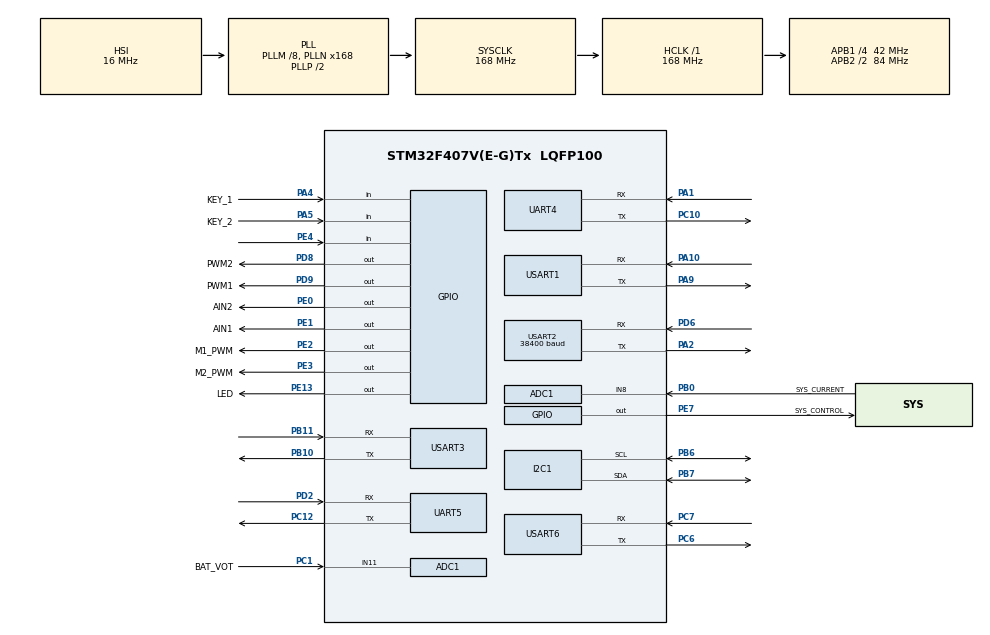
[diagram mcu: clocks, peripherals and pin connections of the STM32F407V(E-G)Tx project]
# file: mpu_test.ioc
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ADC1.Channel-0\#ChannelRegularConversion=ADC_CHANNEL_8
ADC1.NbrOfConversionFlag=1
ADC1.Rank-0\#ChannelRegularConversion=1
ADC1.SamplingTime-0\#ChannelRegularConversion=ADC_SAMPLETIME_3CYCLES
ADC1.master=1
Dma.Request0=USART2_RX
Dma.Request1=USART2_TX
Dma.Request2=USART6_RX
Dma.Request3=USART6_TX
Dma.USART2_RX.0.Direction=DMA_PERIPH_TO_MEMORY
Dma.USART2_RX.0.FIFOMode=DMA_FIFOMODE_DISABLE
Dma.USART2_RX.0.Instance=DMA1_Stream5
Dma.USART2_RX.0.MemDataAlignment=DMA_MDATAALIGN_BYTE
Dma.USART2_RX.0.MemInc=DMA_MINC_ENABLE
Dma.USART2_RX.0.Mode=DMA_NORMAL
Dma.USART2_RX.0.PeriphDataAlignment=DMA_PDATAALIGN_BYTE
Dma.USART2_RX.0.PeriphInc=DMA_PINC_DISABLE
Dma.USART2_RX.0.Priority=DMA_PRIORITY_LOW
Dma.USART2_TX.1.Direction=DMA_MEMORY_TO_PERIPH
Dma.USART2_TX.1.FIFOMode=DMA_FIFOMODE_DISABLE
Dma.USART2_TX.1.Instance=DMA1_Stream6
Dma.USART2_TX.1.MemDataAlignment=DMA_MDATAALIGN_BYTE
Dma.USART2_TX.1.MemInc=DMA_MINC_ENABLE
Dma.USART2_TX.1.Mode=DMA_NORMAL
Dma.USART2_TX.1.PeriphDataAlignment=DMA_PDATAALIGN_BYTE
Dma.USART2_TX.1.PeriphInc=DMA_PINC_DISABLE
Dma.USART2_TX.1.Priority=DMA_PRIORITY_LOW
Dma.USART6_RX.2.Direction=DMA_PERIPH_TO_MEMORY
Dma.USART6_RX.2.FIFOMode=DMA_FIFOMODE_DISABLE
Dma.USART6_RX.2.Instance=DMA2_Stream1
Dma.USART6_RX.2.MemDataAlignment=DMA_MDATAALIGN_BYTE
Dma.USART6_RX.2.MemInc=DMA_MINC_ENABLE
Dma.USART6_RX.2.Mode=DMA_NORMAL
Dma.USART6_RX.2.PeriphDataAlignment=DMA_PDATAALIGN_BYTE
Dma.USART6_RX.2.PeriphInc=DMA_PINC_DISABLE
Dma.USART6_RX.2.Priority=DMA_PRIORITY_LOW
Dma.USART6_TX.3.Direction=DMA_MEMORY_TO_PERIPH
Dma.USART6_TX.3.FIFOMode=DMA_FIFOMODE_DISABLE
Dma.USART6_TX.3.Instance=DMA2_Stream6
Dma.USART6_TX.3.MemDataAlignment=DMA_MDATAALIGN_BYTE
Dma.USART6_TX.3.MemInc=DMA_MINC_ENABLE
Dma.USART6_TX.3.Mode=DMA_NORMAL
Dma.USART6_TX.3.PeriphDataAlignment=DMA_PDATAALIGN_BYTE
Dma.USART6_TX.3.PeriphInc=DMA_PINC_DISABLE
Dma.USART6_TX.3.Priority=DMA_PRIORITY_LOW
Mcu.Family=STM32F4
Mcu.Name=STM32F407V(E-G)Tx
Mcu.Package=LQFP100
NVIC.DMA1_Stream5_IRQn=true\:0\:0\:false\:false\:true\:false\:true\:true
NVIC.DMA1_Stream6_IRQn=true\:0\:0\:false\:false\:true\:false\:true\:true
NVIC.DMA2_Stream1_IRQn=true\:0\:0\:false\:false\:true\:false\:true\:true
NVIC.DMA2_Stream6_IRQn=true\:0\:0\:false\:false\:true\:false\:true\:true
NVIC.PriorityGroup=NVIC_PRIORITYGROUP_4
NVIC.TIM2_IRQn=true\:0\:0\:false\:false\:true\:true\:true\:true
PA1.Mode=Asynchronous
PA1.Signal=UART4_RX
PA10.Mode=Asynchronous
PA10.Signal=USART1_RX
PA13.Mode=Serial_Wire
PA13.Signal=SYS_JTMS-SWDIO
PA14.Mode=Serial_Wire
PA14.Signal=SYS_JTCK-SWCLK
PA2.Mode=Asynchronous
PA2.Signal=USART2_TX
PA4.GPIO_Label=KEY_1
PA4.Signal=GPIO_Input
PA5.GPIO_Label=KEY_2
PA5.Signal=GPIO_Input
PA9.Mode=Asynchronous
PA9.Signal=USART1_TX
PB0.GPIO_Label=SYS_CURRENT
PB0.Signal=SharedAnalog_PB0
PB10.Mode=Asynchronous
PB10.Signal=USART3_TX
PB11.Mode=Asynchronous
PB11.Signal=USART3_RX
PB6.Mode=I2C
PB6.Signal=I2C1_SCL
PB7.Mode=I2C
PB7.Signal=I2C1_SDA
PC1.GPIO_Label=BAT_VOT
PC1.Signal=ADCx_IN11
PC10.Mode=Asynchronous
PC10.Signal=UART4_TX
PC12.Mode=Asynchronous
PC12.Signal=UART5_TX
PC14-OSC32_IN.Mode=LSE-External-Oscillator
PC14-OSC32_IN.Signal=RCC_OSC32_IN
PC15-OSC32_OUT.Mode=LSE-External-Oscillator
PC15-OSC32_OUT.Signal=RCC_OSC32_OUT
PC6.Mode=Asynchronous
PC6.Signal=USART6_TX
PC7.Mode=Asynchronous
PC7.Signal=USART6_RX
PD2.Mode=Asynchronous
PD2.Signal=UART5_RX
PD6.Mode=Asynchronous
PD6.Signal=USART2_RX
PD8.GPIO_Label=PWM2
PD8.Signal=GPIO_Output
PD9.GPIO_Label=PWM1
PD9.Signal=GPIO_Output
PE0.GPIO_Label=AIN2
PE0.Signal=GPIO_Output
PE1.GPIO_Label=AIN1
PE1.Signal=GPIO_Output
PE13.GPIO_Label=LED
PE13.GPIO_PuPd=GPIO_PULLDOWN
PE13.Signal=GPIO_Output
PE2.GPIO_Label=M1_PWM
PE2.Signal=GPIO_Output
PE3.GPIO_Label=M2_PWM
PE3.Signal=GPIO_Output
PE4.Signal=GPIO_Input
PE7.GPIO_Label=SYS_CONTROL
PE7.Signal=GPIO_Output
PH0-OSC_IN.Mode=HSE-External-Oscillator
PH0-OSC_IN.Signal=RCC_OSC_IN
PH1-OSC_OUT.Mode=HSE-External-Oscillator
PH1-OSC_OUT.Signal=RCC_OSC_OUT
ProjectManager.HeapSize=0x200
ProjectManager.StackSize=0x400
ProjectManager.TargetToolchain=CMake
RCC.48MHZClocksFreq_Value=84000000
RCC.AHBFreq_Value=168000000
RCC.APB1CLKDivider=RCC_HCLK_DIV4
RCC.APB1Freq_Value=42000000
RCC.APB1TimFreq_Value=84000000
RCC.APB2CLKDivider=RCC_HCLK_DIV2
RCC.APB2Freq_Value=84000000
RCC.APB2TimFreq_Value=168000000
RCC.CortexFreq_Value=168000000
RCC.HCLKFreq_Value=168000000
RCC.HSE_VALUE=25000000
RCC.HSI_VALUE=16000000
RCC.PLLM=8
RCC.PLLN=168
RCC.SYSCLKFreq_VALUE=168000000
RCC.SYSCLKSource=RCC_SYSCLKSOURCE_PLLCLK
RCC.VCOOutputFreq_Value=336000000
SH.ADCx_IN11.0=ADC1_IN11,IN11
SH.SharedAnalog_PB0.0=GPIO_Analog
SH.SharedAnalog_PB0.1=ADC1_IN8,IN8
TIM2.Period=5000-1
TIM2.Prescaler=168-1
UART4.VirtualMode=Asynchronous
UART5.VirtualMode=Asynchronous
USART1.VirtualMode=VM_ASYNC
USART2.BaudRate=38400
USART2.VirtualMode=VM_ASYNC
USART3.VirtualMode=VM_ASYNC
USART6.VirtualMode=VM_ASYNC
VP_TIM2_VS_ClockSourceINT.Mode=Internal
board=custom

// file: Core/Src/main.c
/* USER CODE BEGIN Header */
/**
  ******************************************************************************
  * @file           : main.c
  * @brief          : Main program body
  ******************************************************************************
  * @attention
  *
  * Copyright (c) 2025 STMicroelectronics.
  * All rights reserved.
  *
  * This software is licensed under terms that can be found in the LICENSE file
  * in the root directory of this software component.
  * If no LICENSE file comes with this software, it is provided AS-IS.
  *
  ******************************************************************************
  */
/* USER CODE END Header */
#include "main.h"
#include "adc.h"
#include "dma.h"
#include "i2c.h"
#include "tim.h"
#include "usart.h"
#include "gpio.h"

/* USER CODE BEGIN Includes */

#include "string.h"
#include "HAl_Add.h"
#include "mpu.h"
#include "moter.h"
#include <stdint.h>
/* USER CODE END Includes */

/* USER CODE BEGIN PV */
MPU6050 MM;
moter_feedback g_motor_fb;    // 电机反馈结构体
moter_command g_motor_cmd;    // 电机指令结构体
char fault_desc[50];          // 故障描述缓冲区
char massage[100];

#define lf_rf_port &huart2  //左前右前
#define lr_rr_port &huart6  //左后右后

/* USER CODE END PV */

void SystemClock_Config(void);
/* USER CODE BEGIN PFP */
void HAL_TIM_PeriodElapsedCallback(TIM_HandleTypeDef *htim)
{
  if (htim->Instance == TIM2)
  {
    HAL_GPIO_TogglePin(LED_GPIO_Port, LED_Pin);
//    HAL_GPIO_TogglePin(LED_GPIO_Port,LED_Pin );
//	  MPU6050_Get_Angle(&MM);//(超低零点漂移)
//    HAL_UART_Transmit(&huart1, (uint8_t*)massage, sizeof(massage), HAL_MAX_DELAY);
	  //MPU6050_Get_Angle_Plus(&MM);//四元素法
  }
}

void Motor_LeftFront_CurrentLoop_1A_Demo(void)
{
    HAL_StatusTypeDef status;

    // 1. 初始化所有电机（默认电流环模式）
    status = Motor_Init_All(&g_motor_fb);

    // 2. 配置左前电机（ID1）电流指令：1A
    g_motor_cmd.id_lf = 1;                  // 左前电机ID设置为1
    g_motor_cmd.current_left_front_set = 0.1f; // 电流设定为1A
    g_motor_cmd.speed_left_front_set = 100.0f;    // 速度设定为0rpm（电流环无效）

    // 3. 发送电流环指令（左前电机，假设使用USART2通信）
    status = Motor_SendCurrentCmd(&huart2, &g_motor_cmd, 1, &g_motor_fb);
/*   if (status != HAL_OK) {
        // 指令发送失败处理
        return;
    }
*/
    status = Motor_SendCurrentCmd(&huart2, &g_motor_cmd, 1, &g_motor_fb);
    Motor_SetMode(&huart2, 1, 2, &g_motor_fb); // 设置右前电机为电流环模式S
    status = Motor_SendCommand(&huart2, &g_motor_cmd, 1, &g_motor_fb);
     g_motor_cmd.speed_left_front_set = 2500.0f;    // 速度设定为0rpm（电流环无效）
    status = Motor_SendCommand(&huart2, &g_motor_cmd, 1, &g_motor_fb);
    // 4. 解析反馈结果
    uint8_t current = g_motor_fb.current_lf;
    uint8_t temp = g_motor_fb.temp_lf;

    // 解析故障码
//    Motor_ParseFaultCode(g_motor_fb.fault_left_front, fault_desc, sizeof(fault_desc));
//    printf("左前电机故障：%s\n", fault_desc);
}
/* USER CODE END PFP */

int main(void)
{

  /* MCU Configuration--------------------------------------------------------*/

  /* Reset of all peripherals, Initializes the Flash interface and the Systick. */
  HAL_Init();

  /* USER CODE BEGIN Init */
// 左前：&huart2 右前：&huart2
// 左后：&uart4 右后：&uart5
  g_motor_cmd.id_lf = 1; // 左前电机ID
  g_motor_cmd.id_rf = 2; // 右前电机ID
  g_motor_cmd.id_lr = 1; // 左后电机ID
  g_motor_cmd.id_rr = 2; // 右后电机ID
  /* USER CODE END Init */

  /* Configure the system clock */
  SystemClock_Config();

  /* Initialize all configured peripherals */
  MX_GPIO_Init();
  MX_DMA_Init();
  MX_I2C1_Init();
  MX_USART1_UART_Init();
  MX_TIM2_Init();
  MX_UART4_Init();
  MX_UART5_Init();
  MX_USART2_UART_Init();
  MX_USART3_UART_Init();
  MX_USART6_UART_Init();
  MX_ADC1_Init();
  /* USER CODE BEGIN 2 */

  MPU6050_init(&hi2c1);//初始化MPU6050(你使用的硬件iic)
  HAL_TIM_Base_Start_IT(&htim2);//定时器中断(确保每次读取的dt稳定)

  /* USER CODE END 2 */

  /* Infinite loop */
  /* USER CODE BEGIN WHILE */

  Motor_LeftFront_CurrentLoop_1A_Demo(); // 电机电流环1A示例
  char msg[150];
  while (1)
  {

	  MPU6050_Get_Angle(&MM);//(超低零点漂移)
    HAL_Delay(5);
    sprintf(msg, "%.3f,%.3f,%.3f\n",MM.roll,MM.pitch,MM.yaw);
    HAL_UART_Transmit(&huart1, (uint8_t*)msg, strlen(msg), HAL_MAX_DELAY);
    /* USER CODE END WHILE */

  }
}

void SystemClock_Config(void)
{
  RCC_OscInitTypeDef RCC_OscInitStruct = {0};
  RCC_ClkInitTypeDef RCC_ClkInitStruct = {0};

  /** Configure the main internal regulator output voltage
  */
  __HAL_RCC_PWR_CLK_ENABLE();
  __HAL_PWR_VOLTAGESCALING_CONFIG(PWR_REGULATOR_VOLTAGE_SCALE1);

  /** Initializes the RCC Oscillators according to the specified parameters
  * in the RCC_OscInitTypeDef structure.
  */
  RCC_OscInitStruct.OscillatorType = RCC_OSCILLATORTYPE_HSI;
  RCC_OscInitStruct.HSIState = RCC_HSI_ON;
  RCC_OscInitStruct.HSICalibrationValue = RCC_HSICALIBRATION_DEFAULT;
  RCC_OscInitStruct.PLL.PLLState = RCC_PLL_ON;
  RCC_OscInitStruct.PLL.PLLSource = RCC_PLLSOURCE_HSI;
  RCC_OscInitStruct.PLL.PLLM = 8;
  RCC_OscInitStruct.PLL.PLLN = 168;
  RCC_OscInitStruct.PLL.PLLP = RCC_PLLP_DIV2;
  RCC_OscInitStruct.PLL.PLLQ = 4;
  if (HAL_RCC_OscConfig(&RCC_OscInitStruct) != HAL_OK)
  {
    Error_Handler();
  }

  /** Initializes the CPU, AHB and APB buses clocks
  */
  RCC_ClkInitStruct.ClockType = RCC_CLOCKTYPE_HCLK|RCC_CLOCKTYPE_SYSCLK
                              |RCC_CLOCKTYPE_PCLK1|RCC_CLOCKTYPE_PCLK2;
  RCC_ClkInitStruct.SYSCLKSource = RCC_SYSCLKSOURCE_PLLCLK;
  RCC_ClkInitStruct.AHBCLKDivider = RCC_SYSCLK_DIV1;
  RCC_ClkInitStruct.APB1CLKDivider = RCC_HCLK_DIV4;
  RCC_ClkInitStruct.APB2CLKDivider = RCC_HCLK_DIV2;

  if (HAL_RCC_ClockConfig(&RCC_ClkInitStruct, FLASH_LATENCY_5) != HAL_OK)
  {
    Error_Handler();
  }
}

void Error_Handler(void)
{
  __disable_irq();
  while (1)
  {
  }
}
